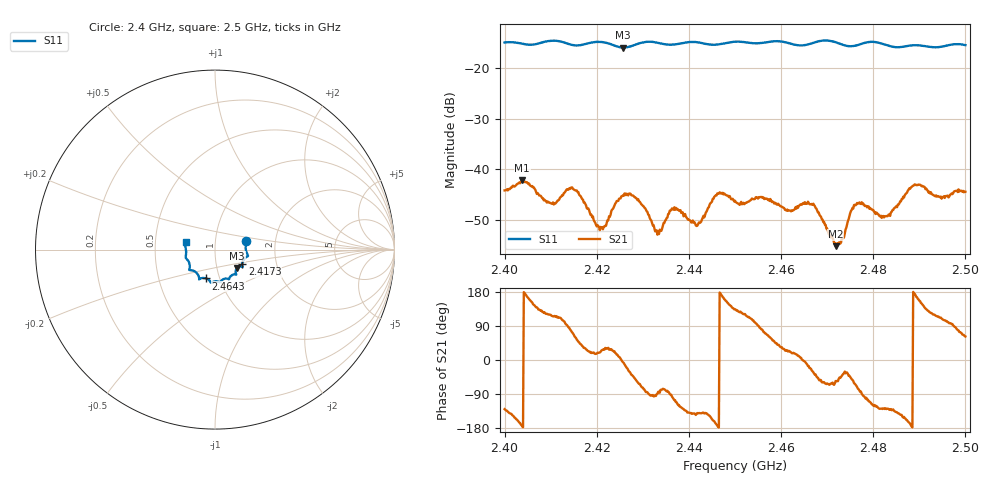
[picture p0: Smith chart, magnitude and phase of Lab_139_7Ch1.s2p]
# Hz S RI R 50
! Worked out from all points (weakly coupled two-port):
!   601 points, 2.4 GHz to 2.5 GHz, reference 50 ohm
!   highest |S21| = -42.22 dB at 2.4038 GHz (marker M1); lowest = -55.2 dB at 2.4718 GHz (marker M2)
!   lowest |S11| = -15.9 dB at 2.4257 GHz (marker M3), VSWR 1.38, Z = 62.5 - j13.1 ohm
!   |S11| at or under -10 dB: start of sweep to end of sweep
!   S12 and S22 are empty: the file has one direction only
!   S11 on the Smith chart (normalised r, x): 2.4 GHz: 1.41, +0.14; 2.4173 GHz: 1.34, -0.23; 2.4643 GHz: 0.86, -0.28; 2.5 GHz: 0.72, +0.06
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2.4e9  0.1731 0.0487  -0.00394 -0.00474  0 0  0 0
2.403833e9  0.173 0.0274  -0.00772 -0.000667  0 0  0 0
2.410167e9  0.1841 -0.0337  -0.00206 0.00408  0 0  0 0
2.414167e9  0.1653 -0.0488  0.000937 0.00631  0 0  0 0
2.416667e9  0.1526 -0.0746  0.004 0.00336  0 0  0 0
2.417333e9  0.1518 -0.082  0.004 0.00247  0 0  0 0
2.421167e9  0.1536 -0.0968  0.00238 0.00118  0 0  0 0
2.425667e9  0.123 -0.1024  0.00548 -0.00054  0 0  0 0
2.428833e9  0.1152 -0.1305  0.00256 -0.00423  0 0  0 0
2.433333e9  0.113 -0.1374  0.000254 -0.00242  0 0  0 0
2.436333e9  0.0916 -0.1447  -0.000484 -0.00407  0 0  0 0
2.441833e9  0.0749 -0.1644  -0.00212 -0.00178  0 0  0 0
2.446167e9  0.0463 -0.1653  -0.00573 -0.00068  0 0  0 0
2.45e9  0.0286 -0.181  -0.00339 0.0035  0 0  0 0
2.464333e9  -0.0498 -0.1605  0.00449 0.000452  0 0  0 0
2.466667e9  -0.076 -0.1592  0.00401 -0.00212  0 0  0 0
2.471833e9  -0.0884 -0.1577  0.000981 -0.00143  0 0  0 0
2.476333e9  -0.1198 -0.1177  0.00168 -0.00414  0 0  0 0
2.483333e9  -0.1406 -0.0901  -0.00224 -0.00276  0 0  0 0
2.489e9  -0.1626 -0.0456  -0.00705 0.000619  0 0  0 0
2.494667e9  -0.1626 0.00635  -0.00199 0.00497  0 0  0 0
2.5e9  -0.1637 0.0427  0.00281 0.00529  0 0  0 0
